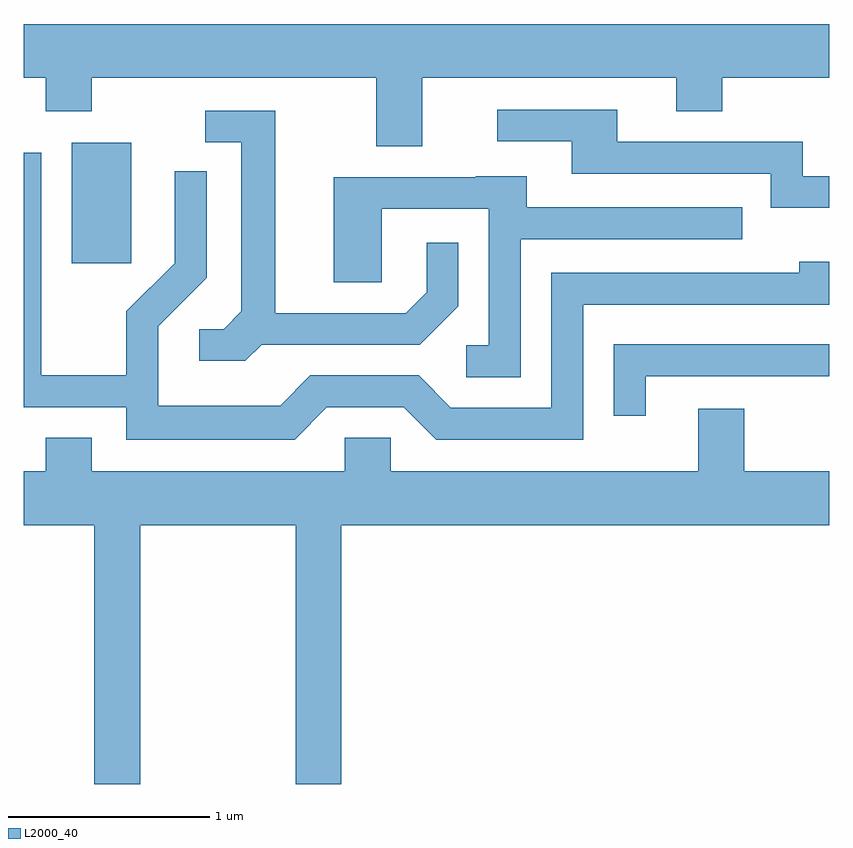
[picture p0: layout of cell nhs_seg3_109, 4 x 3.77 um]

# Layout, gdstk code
import gdstk
lib = gdstk.Library(unit=1e-6, precision=1e-09)
def R(c, l, rs):  # rectangles x0, y0, x1, y1
    for r in rs: c.add(gdstk.rectangle(r[:2], r[2:], *l))
def P(c, l, *ps):  # polygons
    for p in ps: c.add(gdstk.Polygon(p, *l))
L2000_40 = (2000, 40)

nhs_seg3_109 = lib.new_cell('nhs_seg3_109')
R(nhs_seg3_109, L2000_40, [(187.851,1200.576,188.144,1201.174)])
P(nhs_seg3_109, L2000_40, [(189.589,1201.496),(190.851,1201.496),(190.851,1201.331),(191.079,1201.331),(191.079,1201.496),(191.611,1201.496),(191.611,1201.764),(187.611,1201.764),(187.611,1201.496),(187.721,1201.496),(187.721,1201.331),(187.949,1201.331),(187.949,1201.496),(189.361,1201.496),(189.361,1201.156),(189.589,1201.156)],
  [(191.611,1201.009),(191.479,1201.009),(191.479,1201.179),(190.559,1201.179),(190.559,1201.339),(189.963,1201.339),(189.963,1201.181),(190.331,1201.181),(190.331,1201.021),(191.321,1201.021),(191.321,1200.851),(191.611,1200.851)],
  [(188.792,1200.171),(189.577,1200.171),(189.769,1200.364),(189.769,1200.678),(189.611,1200.678),(189.611,1200.432),(189.509,1200.329),(188.859,1200.329),(188.859,1201.334),(188.513,1201.334),(188.513,1201.176),(188.691,1201.176),(188.691,1200.337),(188.604,1200.249),(188.483,1200.249),(188.483,1200.091),(188.712,1200.091)],
  [(189.117,1199.861),(189.499,1199.861),(189.659,1199.701),(190.389,1199.701),(190.389,1200.371),(191.611,1200.371),(191.611,1200.584),(191.461,1200.584),(191.461,1200.529),(190.231,1200.529),(190.231,1199.859),(189.732,1199.859),(189.572,1200.019),(189.034,1200.019),(188.884,1199.869),(188.279,1199.869),(188.279,1200.264),(188.519,1200.504),(188.519,1201.033),(188.361,1201.033),(188.361,1200.577),(188.121,1200.337),(188.121,1200.019),(187.699,1200.019),(187.699,1201.124),(187.611,1201.124),(187.611,1199.861),(188.121,1199.861),(188.121,1199.701),(188.957,1199.701)],
  [(190.079,1200.696),(191.178,1200.696),(191.178,1200.854),(190.109,1200.854),(190.109,1201.009),(189.855,1201.009),(189.855,1201.004),(189.151,1201.004),(189.151,1200.481),(189.389,1200.481),(189.389,1200.846),(189.921,1200.846),(189.921,1200.169),(189.808,1200.169),(189.808,1200.011),(190.079,1200.011)],
  [(190.699,1200.016),(191.611,1200.016),(191.611,1200.174),(190.541,1200.174),(190.541,1199.818),(190.699,1199.818)],
  [(188.189,1199.276),(188.961,1199.276),(188.961,1197.991),(189.189,1197.991),(189.189,1199.276),(191.611,1199.276),(191.611,1199.544),(191.189,1199.544),(191.189,1199.854),(190.961,1199.854),(190.961,1199.544),(189.434,1199.544),(189.434,1199.709),(189.206,1199.709),(189.206,1199.544),(187.949,1199.544),(187.949,1199.709),(187.721,1199.709),(187.721,1199.544),(187.611,1199.544),(187.611,1199.276),(187.961,1199.276),(187.961,1197.991),(188.189,1197.991)])

lib.write_gds('nhs_seg3_109.gds')
